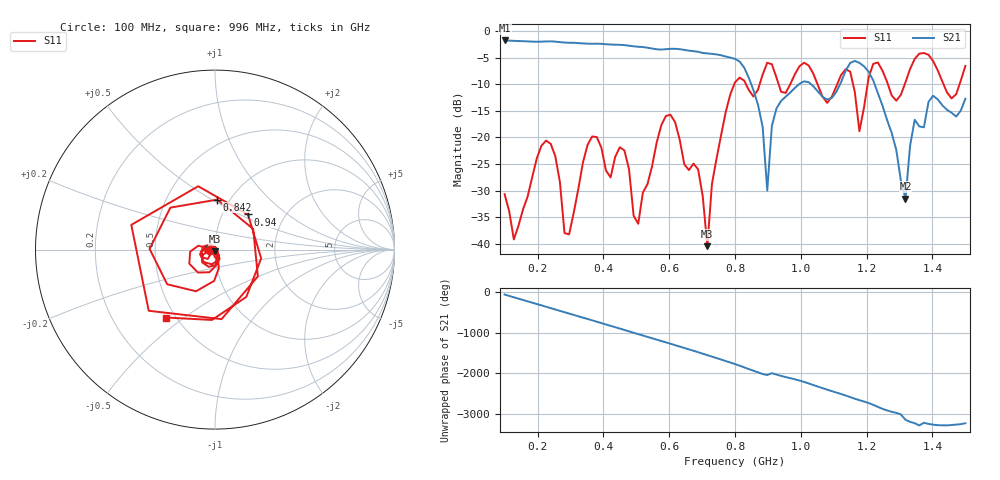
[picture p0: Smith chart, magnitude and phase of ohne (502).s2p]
! NanoVNA-App
! Date: 2025-09-25 14:24:42
! Start: 100MHz Stop: 1,5GHz Points: 101
! S-Parameter data: F S11 S21 S12 S22
# Hz S RI R 50
!  Frequency  S11_Real  S11_Imag  S21_Real  S21_Imag  S12_Real  S12_Imag  S22_Real  S22_Imag
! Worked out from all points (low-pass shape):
!   101 points, 100 MHz to 1.5 GHz, reference 50 ohm
!   highest |S21| = -1.79 dB at 100 MHz (marker M1); lowest = -31.5 dB at 1.318 GHz (marker M2)
!   |S21| within 3 dB of the highest: start of sweep to 771.1 MHz
!   lowest |S11| = -40.4 dB at 716 MHz (marker M3), VSWR 1.02, Z = 49.7 - j0.911 ohm
!   |S11| at or under -10 dB: start of sweep to 797.8 MHz; 833.3 MHz to 875 MHz (41.74 MHz wide, 4.89 % of centre); 1.051 GHz to 1.111 GHz (60 MHz wide, 5.55 % of centre) (the widest 3 of 7)
!   S12 and S22 are empty: the file has one direction only
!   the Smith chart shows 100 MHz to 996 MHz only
!   S11 on the Smith chart (normalised r, x): 100 MHz: 0.94, -0.01; 842 MHz: 0.88, +0.53; 940 MHz: 1.32, +0.56; 996 MHz: 0.44, -0.43
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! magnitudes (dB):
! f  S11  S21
! 100 MHz  -30.6  -1.8
! 128 MHz  -39.1  -1.9
! 226 MHz  -20.6  -2.0
! 296 MHz  -38.2  -2.2
! 338 MHz  -24.7  -2.3
! 464 MHz  -22.4  -2.7
! 506 MHz  -36.2  -3.0
! 576 MHz  -17.7  -3.5
! 688 MHz  -26.0  -3.9
! 716 MHz  -40.4  -4.2
! 800 MHz  -9.7  -5.3
! 842 MHz  -11.1  -8.8
! 898 MHz  -6.0  -30.0
! 940 MHz  -11.4  -13.1
! 996 MHz  -6.6  -9.9
! 1.038 GHz  -8.0  -10.4
! 1.178 GHz  -18.8  -6.0
! 1.22 GHz  -6.2  -9.3
! 1.276 GHz  -12.1  -19.1
! 1.318 GHz  -9.6  -31.5
! 1.346 GHz  -5.3  -16.7
! 1.5 GHz  -6.6  -12.7
